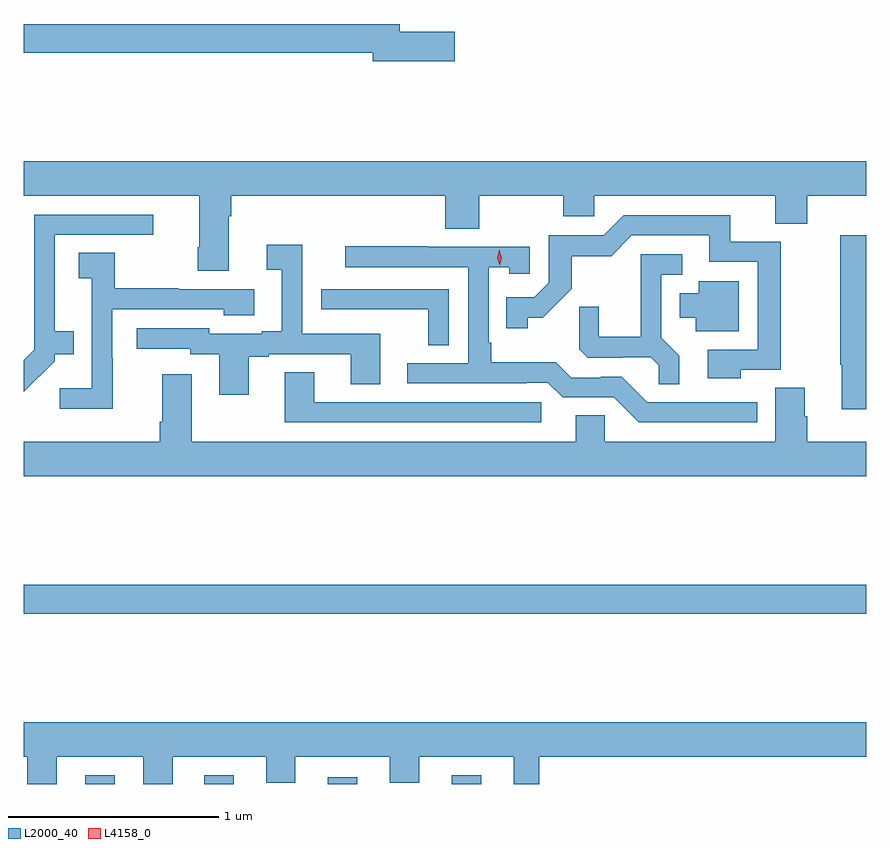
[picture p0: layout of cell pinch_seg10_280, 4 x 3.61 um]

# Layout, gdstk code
import gdstk
lib = gdstk.Library(unit=1e-6, precision=1e-09)
def R(c, l, rs):  # rectangles x0, y0, x1, y1
    for r in rs: c.add(gdstk.rectangle(r[:2], r[2:], *l))
def P(c, l, *ps):  # polygons
    for p in ps: c.add(gdstk.Polygon(p, *l))
L2000_40 = (2000, 40)
L4158_0 = (4158, 0)

pinch_seg10_280 = lib.new_cell('pinch_seg10_280')
R(pinch_seg10_280, L2000_40, [(490.985,1312.175,491.125,1312.216), (491.549,1312.175,491.689,1312.216), (492.137,1312.175,492.277,1312.207), (492.725,1312.175,492.865,1312.216), (490.693,1312.984,494.693,1313.12)])
P(pinch_seg10_280, L2000_40, [(492.739,1315.748),(492.478,1315.748),(492.478,1315.784),(490.693,1315.784),(490.693,1315.648),(492.35,1315.648),(492.35,1315.606),(492.739,1315.606)],
  [(491.665,1314.872),(491.678,1314.872),(491.678,1314.968),(492.695,1314.968),(492.695,1314.811),(492.855,1314.811),(492.855,1314.968),(493.255,1314.968),(493.255,1314.87),(493.401,1314.87),(493.401,1314.968),(494.261,1314.968),(494.261,1314.835),(494.414,1314.835),(494.414,1314.968),(494.693,1314.968),(494.693,1315.132),(490.693,1315.132),(490.693,1314.968),(491.525,1314.968),(491.525,1314.724),(491.518,1314.724),(491.518,1314.612),(491.665,1314.612)],
  [(490.839,1314.183),(490.839,1314.215),(490.931,1314.215),(490.931,1314.325),(490.84,1314.325),(490.84,1314.783),(491.308,1314.783),(491.308,1314.879),(490.743,1314.879),(490.743,1314.237),(490.693,1314.187),(490.693,1314.037)],
  [(494.097,1314.141),(494.287,1314.141),(494.287,1314.75),(494.048,1314.75),(494.048,1314.876),(493.542,1314.876),(493.446,1314.78),(493.185,1314.78),(493.185,1314.555),(493.116,1314.486),(492.985,1314.486),(492.985,1314.339),(493.086,1314.339),(493.086,1314.389),(493.156,1314.389),(493.294,1314.526),(493.294,1314.682),(493.483,1314.682),(493.581,1314.78),(493.949,1314.78),(493.949,1314.654),(494.178,1314.654),(494.178,1314.237),(493.941,1314.237),(493.941,1314.101),(494.097,1314.101)],
  [(494.693,1314.781),(494.569,1314.781),(494.569,1314.167),(494.576,1314.167),(494.576,1313.955),(494.693,1313.955)],
  [(491.761,1314.204),(491.857,1314.204),(491.857,1314.216),(492.245,1314.216),(492.245,1314.073),(492.385,1314.073),(492.385,1314.312),(492.015,1314.312),(492.015,1314.736),(491.847,1314.736),(491.847,1314.616),(491.918,1314.616),(491.918,1314.325),(491.822,1314.325),(491.822,1314.312),(491.574,1314.312),(491.574,1314.339),(491.229,1314.339),(491.229,1314.243),(491.484,1314.243),(491.484,1314.216),(491.621,1314.216),(491.621,1314.024),(491.761,1314.024)],
  [(494.176,1313.988),(493.653,1313.988),(493.533,1314.108),(493.432,1314.108),(493.432,1314.105),(493.293,1314.105),(493.22,1314.178),(492.913,1314.178),(492.913,1314.271),(492.9,1314.271),(492.9,1314.629),(492.999,1314.629),(492.999,1314.597),(493.095,1314.597),(493.095,1314.726),(492.611,1314.726),(492.611,1314.729),(492.219,1314.729),(492.219,1314.63),(492.804,1314.63),(492.804,1314.174),(492.513,1314.174),(492.513,1314.078),(493.082,1314.078),(493.082,1314.081),(493.182,1314.081),(493.251,1314.012),(493.494,1314.012),(493.614,1313.892),(494.176,1313.892)],
  [(491.115,1314.197),(491.112,1314.197),(491.112,1314.429),(491.643,1314.429),(491.643,1314.401),(491.788,1314.401),(491.788,1314.525),(491.429,1314.525),(491.429,1314.528),(491.125,1314.528),(491.125,1314.698),(490.953,1314.698),(490.953,1314.577),(491.016,1314.577),(491.016,1314.055),(490.863,1314.055),(490.863,1313.957),(491.115,1313.957)],
  [(493.805,1314.209),(493.719,1314.295),(493.719,1314.594),(493.819,1314.594),(493.819,1314.69),(493.622,1314.69),(493.622,1314.298),(493.424,1314.298),(493.424,1314.441),(493.33,1314.441),(493.33,1314.239),(493.371,1314.198),(493.536,1314.198),(493.536,1314.201),(493.67,1314.201),(493.707,1314.164),(493.707,1314.073),(493.805,1314.073)],
  [(494.089,1314.562),(493.898,1314.562),(493.898,1314.505),(493.808,1314.505),(493.808,1314.389),(493.883,1314.389),(493.883,1314.326),(494.089,1314.326)],
  [(492.711,1314.525),(492.105,1314.525),(492.105,1314.43),(492.217,1314.43),(492.217,1314.429),(492.613,1314.429),(492.613,1314.259),(492.711,1314.259)],
  [(493.15,1313.988),(492.073,1313.988),(492.073,1314.131),(491.933,1314.131),(491.933,1313.892),(493.15,1313.892)],
  [(494.693,1313.8),(494.414,1313.8),(494.414,1313.922),(494.401,1313.922),(494.401,1314.056),(494.261,1314.056),(494.261,1313.8),(493.452,1313.8),(493.452,1313.927),(493.313,1313.927),(493.313,1313.8),(491.491,1313.8),(491.491,1314.121),(491.351,1314.121),(491.351,1313.896),(491.339,1313.896),(491.339,1313.8),(490.693,1313.8),(490.693,1313.636),(494.693,1313.636)],
  [(490.849,1312.304),(491.261,1312.304),(491.261,1312.175),(491.401,1312.175),(491.401,1312.304),(491.843,1312.304),(491.843,1312.18),(491.983,1312.18),(491.983,1312.304),(492.431,1312.304),(492.431,1312.18),(492.571,1312.18),(492.571,1312.304),(493.019,1312.304),(493.019,1312.175),(493.141,1312.175),(493.141,1312.304),(494.693,1312.304),(494.693,1312.468),(490.693,1312.468),(490.693,1312.304),(490.709,1312.304),(490.709,1312.175),(490.849,1312.175)])
P(pinch_seg10_280, L4158_0, [(492.953,1314.639),(492.953,1314.639),(492.942,1314.674),(492.951,1314.711),(492.951,1314.711),(492.951,1314.711),(492.962,1314.675),(492.954,1314.639)])

lib.write_gds('pinch_seg10_280.gds')
